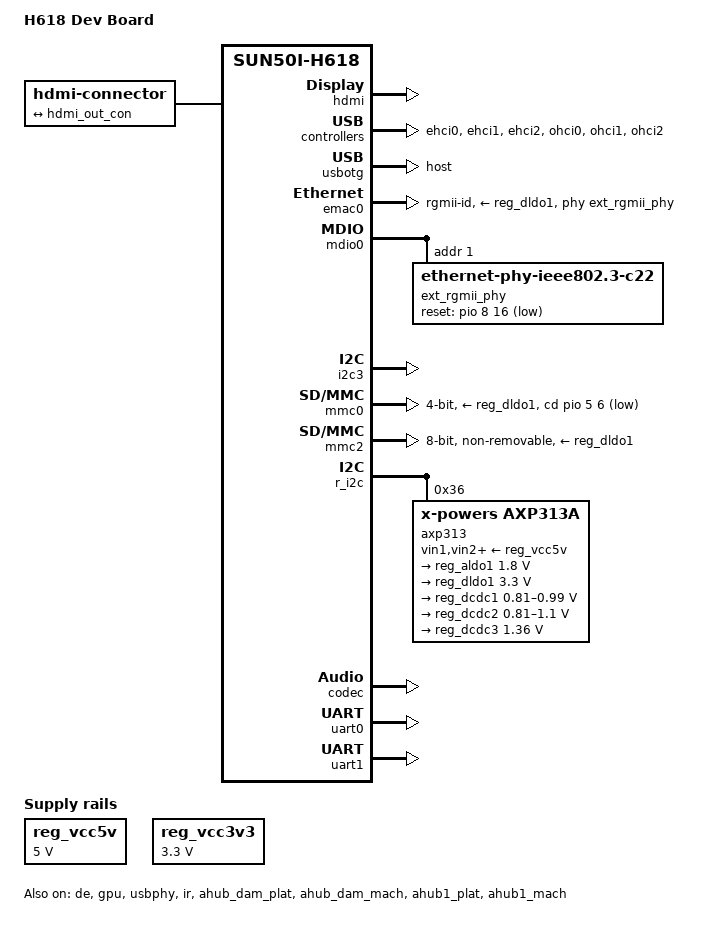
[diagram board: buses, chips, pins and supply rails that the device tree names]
// SPDX-License-Identifier: (GPL-2.0+ OR MIT)
/*
 * Device tree for H618 Dev Board.
 */

/dts-v1/;

#include "sun50i-h616.dtsi"
#include "sun50i-h616-cpu-opp.dtsi"
#include <dt-bindings/gpio/gpio.h>
#include <dt-bindings/interrupt-controller/arm-gic.h>

/ {
	model = "H618 Dev Board";
	compatible = "allwinner,devboard", "allwinner,sun50i-h618";

	aliases {
		ethernet0 = &emac0;
		serial0 = &uart0;
	};

	chosen {
		stdout-path = "serial0:115200n8";
	};

	connector {
		compatible = "hdmi-connector";
		type = "a";

		port {
			hdmi_con_in: endpoint {
				remote-endpoint = <&hdmi_out_con>;
			};
		};
	};

	gpu_opp_table: gpu-opp-table {
		compatible = "operating-points-v2";

		opp-125000000 {
			opp-hz = /bits/ 64 <125000000>;
			opp-microvolt = <860000>;
		};

		opp-250000000 {
			opp-hz = /bits/ 64 <250000000>;
			opp-microvolt = <860000>;
		};

		opp-432000000 {
			opp-hz = /bits/ 64 <432000000>;
			opp-microvolt = <912000>;
		};

		opp-600000000 {
			opp-hz = /bits/ 64 <600000000>;
			opp-microvolt = <960000>;
		};

		opp-800000000 {
			opp-hz = /bits/ 64 <800000000>;
			opp-microvolt = <1080000>;
		};
	};

	reg_vcc5v: vcc5v {
		compatible = "regulator-fixed";
		regulator-name = "vcc-5v";
		regulator-min-microvolt = <5000000>;
		regulator-max-microvolt = <5000000>;
		regulator-always-on;
	};

	reg_vcc3v3: vcc3v3 {
		compatible = "regulator-fixed";
		regulator-name = "vcc-3v3";
		regulator-min-microvolt = <3300000>;
		regulator-max-microvolt = <3300000>;
		regulator-always-on;
	};
};

&cpu0 {
	cpu-supply = <&reg_dcdc2>;
	clock-latency-ns = <244000>;
};

&cpu1 {
	clock-latency-ns = <244000>;
};

&cpu2 {
	clock-latency-ns = <244000>;
};

&cpu3 {
	clock-latency-ns = <244000>;
};

/* Display Engine */
&de {
	status = "okay";
};

/* HDMI output */
&hdmi {
	hvcc-supply = <&reg_aldo1>;
	status = "okay";
};

&hdmi_out {
	hdmi_out_con: endpoint {
		remote-endpoint = <&hdmi_con_in>;
	};
};

/* GPU */
&gpu {
	mali-supply = <&reg_dcdc1>;
	operating-points-v2 = <&gpu_opp_table>;
	#cooling-cells = <2>;
	status = "okay";
};

/* USB */
&ehci0 {
	status = "okay";
};

&ehci1 {
	status = "okay";
};

&ehci2 {
	status = "okay";
};

&ohci0 {
	status = "okay";
};

&ohci1 {
	status = "okay";
};

&ohci2 {
	status = "okay";
};

&usbotg {
	dr_mode = "host";
	status = "okay";
};

&usbphy {
	status = "okay";
};

/* Ethernet - board uses PI0-PI15 (including PI6) for RGMII */
&emac0 {
	pinctrl-names = "default";
	pinctrl-0 = <&ext_rgmii_pins>;
	phy-mode = "rgmii-id";
	phy-handle = <&ext_rgmii_phy>;
	phy-supply = <&reg_dldo1>;
	status = "okay";
};

/* Override dtsi default to include PI6 (EMAC0_TXCLK) needed by this board */
&ext_rgmii_pins {
	pins = "PI0", "PI1", "PI2", "PI3", "PI4", "PI5", "PI6",
	       "PI7", "PI8", "PI9", "PI10", "PI11", "PI12",
	       "PI13", "PI14", "PI15";
};

&mdio0 {
	ext_rgmii_phy: ethernet-phy@1 {
		compatible = "ethernet-phy-ieee802.3-c22";
		reg = <1>;
		reset-gpios = <&pio 8 16 GPIO_ACTIVE_LOW>;	/* PI16 */
		reset-assert-us = <30000>;
		reset-deassert-us = <150000>;
	};
};

/* I2C */
&i2c3 {
	status = "okay";
};

/* IR */
&ir {
	status = "okay";
};

/* Storage */
&mmc0 {
	vmmc-supply = <&reg_dldo1>;
	cd-gpios = <&pio 5 6 (GPIO_ACTIVE_LOW | GPIO_PULL_DOWN)>;	/* PF6 */
	bus-width = <4>;
	status = "okay";
};

&mmc2 {
	vmmc-supply = <&reg_dldo1>;
	vqmmc-supply = <&reg_aldo1>;
	bus-width = <8>;
	non-removable;
	cap-mmc-hw-reset;
	mmc-ddr-1_8v;
	mmc-hs200-1_8v;
	status = "okay";
};

/* Pin power domains */
&pio {
	vcc-pc-supply = <&reg_aldo1>;
	vcc-pg-supply = <&reg_dldo1>;
	vcc-ph-supply = <&reg_dldo1>;
	vcc-pi-supply = <&reg_dldo1>;
};

/* PMIC */
&r_i2c {
	status = "okay";

	axp313: pmic@36 {
		compatible = "x-powers,axp313a";
		reg = <0x36>;
		#interrupt-cells = <1>;
		interrupt-controller;

		vin1-supply = <&reg_vcc5v>;
		vin2-supply = <&reg_vcc5v>;
		vin3-supply = <&reg_vcc5v>;

		regulators {
			reg_aldo1: aldo1 {
				regulator-always-on;
				regulator-min-microvolt = <1800000>;
				regulator-max-microvolt = <1800000>;
				regulator-name = "vcc-1v8-pll";
			};

			reg_dldo1: dldo1 {
				regulator-always-on;
				regulator-min-microvolt = <3300000>;
				regulator-max-microvolt = <3300000>;
				regulator-name = "vcc-3v3-io-mmc";
			};

			reg_dcdc1: dcdc1 {
				regulator-always-on;
				regulator-min-microvolt = <810000>;
				regulator-max-microvolt = <990000>;
				regulator-name = "vdd-gpu-sys";
			};

			reg_dcdc2: dcdc2 {
				regulator-always-on;
				regulator-min-microvolt = <810000>;
				regulator-max-microvolt = <1100000>;
				regulator-name = "vdd-cpu";
			};

			reg_dcdc3: dcdc3 {
				regulator-always-on;
				regulator-min-microvolt = <1360000>;
				regulator-max-microvolt = <1360000>;
				regulator-name = "vdd-dram";
			};
		};
	};
};

/* Audio */
&codec {
	allwinner,audio-routing = "Line Out", "LINEOUT";
	status = "okay";
};

&ahub_dam_plat {
	status = "okay";
};

&ahub_dam_mach {
	status = "okay";
};

&ahub1_plat {
	status = "okay";
};

&ahub1_mach {
	status = "okay";
};

/* UART */
&uart0 {
	pinctrl-names = "default";
	pinctrl-0 = <&uart0_ph_pins>;
	status = "okay";
};

/*
 * UART1 wired to on-board WiFi/BT module.
 * The BSP "allwinner,sunxi-btlpm" child node is Armbian/BSP-only and has no
 * mainline driver in 6.18.y — drop it. Bluetooth may still be brought up from
 * userspace via hciattach-based tooling.
 */
&uart1 {
	pinctrl-names = "default";
	pinctrl-0 = <&uart1_pins>, <&uart1_rts_cts_pins>;
	uart-has-rtscts;
	status = "okay";
};
